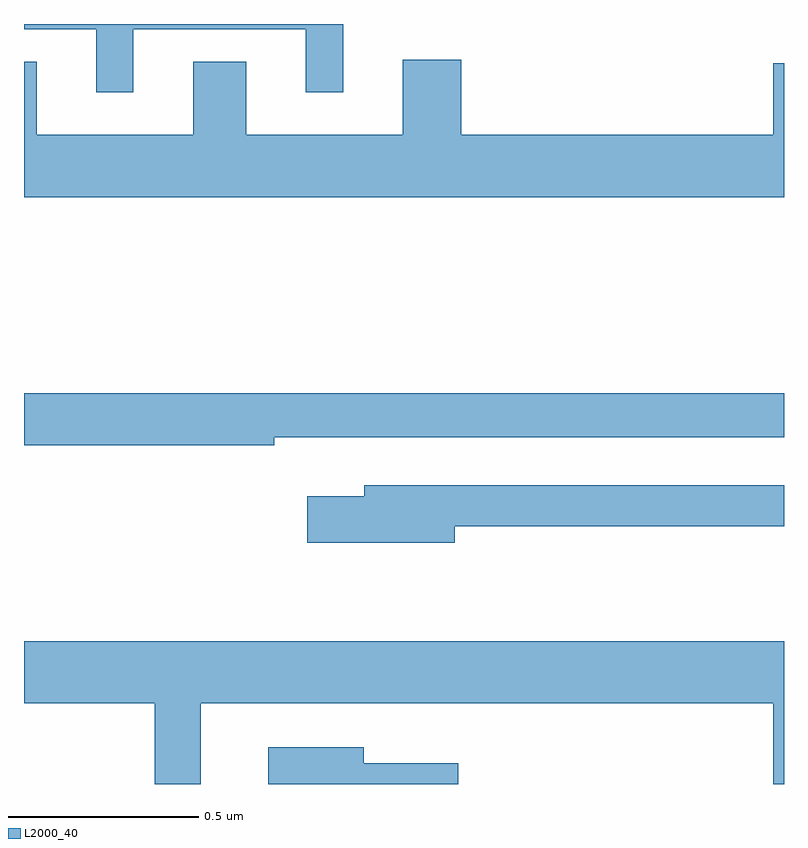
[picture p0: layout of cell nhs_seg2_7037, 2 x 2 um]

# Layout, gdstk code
import gdstk
lib = gdstk.Library(unit=1e-6, precision=1e-09)
def P(c, l, *ps):  # polygons
    for p in ps: c.add(gdstk.Polygon(p, *l))
L2000_40 = (2000, 40)

nhs_seg2_7037 = lib.new_cell('nhs_seg2_7037')
P(nhs_seg2_7037, L2000_40, [(199.288,606.786),(199.742,606.786),(199.742,606.621),(199.84,606.621),(199.84,606.8),(199,606.8),(199,606.786),(199.19,606.786),(199.19,606.621),(199.288,606.621)],
  [(201,606.697),(200.972,606.697),(200.972,606.508),(200.15,606.508),(200.15,606.706),(199.997,606.706),(199.997,606.508),(199.585,606.508),(199.585,606.701),(199.445,606.701),(199.445,606.508),(199.033,606.508),(199.033,606.701),(199,606.701),(199,606.344),(201,606.344)],
  [(199.658,605.712),(201,605.712),(201,605.828),(199,605.828),(199,605.692),(199.658,605.692)],
  [(200.134,605.478),(201,605.478),(201,605.586),(199.895,605.586),(199.895,605.557),(199.746,605.557),(199.746,605.435),(200.134,605.435)],
  [(199.465,605.012),(200.972,605.012),(200.972,604.8),(201,604.8),(201,605.176),(199,605.176),(199,605.012),(199.344,605.012),(199.344,604.8),(199.465,604.8)],
  [(200.143,604.855),(199.894,604.855),(199.894,604.897),(199.643,604.897),(199.643,604.8),(200.143,604.8)])

lib.write_gds('nhs_seg2_7037.gds')
